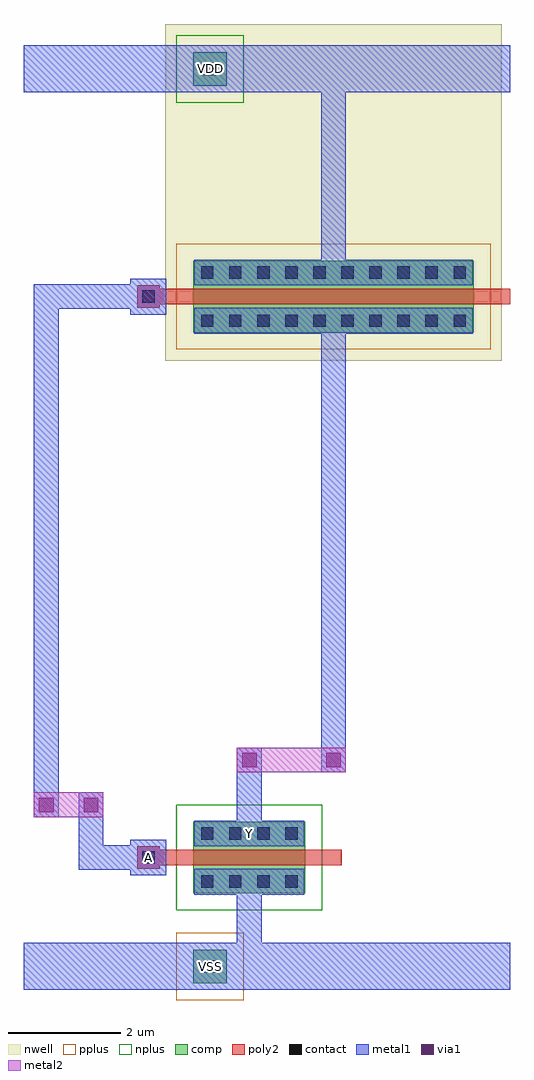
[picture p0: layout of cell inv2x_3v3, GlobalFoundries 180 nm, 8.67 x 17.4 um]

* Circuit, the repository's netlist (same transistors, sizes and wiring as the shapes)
* Extracted by KLayout with GF180MCU LVS runset on : 09/09/2026 01:18

.SUBCKT inv2x_3v3 VSS Y VDD A
M$1 VDD A Y VDD pfet_03v3 L=0.28U W=5U AS=2.5P AD=2.5P PS=11U PD=11U
M$2 Y A VSS VSS nfet_03v3 L=0.28U W=2U AS=1P AD=1P PS=5U PD=5U
.ENDS inv2x_3v3

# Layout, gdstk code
import gdstk
lib = gdstk.Library(unit=1e-6, precision=1e-09)
def R(c, l, rs):  # rectangles x0, y0, x1, y1
    for r in rs: c.add(gdstk.rectangle(r[:2], r[2:], *l))
def A(c, l, x, y, w, h, nx, ny, dx, dy):  # array of equal rectangles
    R(c, l, [(x+i*dx, y+j*dy, x+i*dx+w, y+j*dy+h) for i in range(nx) for j in range(ny)])
nwell = (21, 0)
comp = (22, 0)
poly2 = (30, 0)
pplus = (31, 0)
nplus = (32, 0)
contact = (33, 0)
metal1 = (34, 0)
via1 = (35, 0)
metal2 = (36, 0)

inv2x_3v3 = lib.new_cell('inv2x_3v3')
R(inv2x_3v3, nwell, [(2.52,9.5,8.52,15.5)])
R(inv2x_3v3, comp, [(3.02,-1.6,3.62,-1), (3.02,0,5.02,1.28), (3.02,10,8.02,11.28), (3.02,14.4,3.62,15)])
R(inv2x_3v3, poly2, [(2.02,0.44,2.42,0.84), (2.37,0.5,5.67,0.78), (2.02,10.44,2.42,10.84), (2.37,10.5,8.67,10.78)])
R(inv2x_3v3, pplus, [(2.72,-1.9,3.92,-0.7), (2.72,9.7,8.32,11.58)])
R(inv2x_3v3, nplus, [(2.72,-0.3,5.32,1.58), (2.72,14.1,3.92,15.3)])
A(inv2x_3v3, contact, 3.16, 0.1, 0.22, 0.22, 4, 2, 0.5, 0.86)
A(inv2x_3v3, contact, 3.16, 10.1, 0.22, 0.22, 10, 2, 0.5, 0.86)
R(inv2x_3v3, contact, [(3.21,-1.41,3.43,-1.19), (2.11,0.53,2.33,0.75), (2.11,10.53,2.33,10.75), (3.21,14.59,3.43,14.81)])
R(inv2x_3v3, metal1, [(0,-1.72,8.67,-0.88), (2.9,-1.72,3.74,-0.88), (3.8,-1.3,4.24,0.44), (3.04,-0.02,5,0.44), (1.9,0.32,2.54,0.96), (0.98,0.42,2.54,0.86), (0.98,0.64,1.42,1.58), (3.04,0.84,5,1.3), (3.8,0.84,4.24,2.38), (0.18,1.36,0.62,1.8), (0.98,1.36,1.42,1.8), (0.18,1.58,0.62,10.64), (3.8,2.16,4.24,2.6), (5.3,2.16,5.74,2.6), (5.3,2.38,5.74,10.44), (3.04,9.98,8,10.44), (1.9,10.32,2.54,10.96), (0.18,10.42,2.54,10.86), (3.04,10.84,8,11.3), (5.3,10.84,5.74,14.7), (0,14.28,8.67,15.12), (2.9,14.28,3.74,15.12)])
R(inv2x_3v3, via1, [(0.27,1.45,0.53,1.71), (1.07,1.45,1.33,1.71), (3.89,2.25,4.15,2.51), (5.39,2.25,5.65,2.51)])
R(inv2x_3v3, metal2, [(0.18,1.36,0.62,1.8), (0.18,1.36,1.42,1.8), (0.98,1.36,1.42,1.8), (3.8,2.16,4.24,2.6), (3.8,2.16,5.74,2.6), (5.3,2.16,5.74,2.6)])
inv2x_3v3.add(gdstk.Label('A', (2.22,0.64), layer=34, texttype=10))
inv2x_3v3.add(gdstk.Label('Y', (4.02,1.07), layer=34, texttype=10))
inv2x_3v3.add(gdstk.Label('VSS', (3.32,-1.3), layer=34, texttype=10))
inv2x_3v3.add(gdstk.Label('VDD', (3.32,14.7), layer=34, texttype=10))

lib.write_gds('inv2x_3v3.gds')
